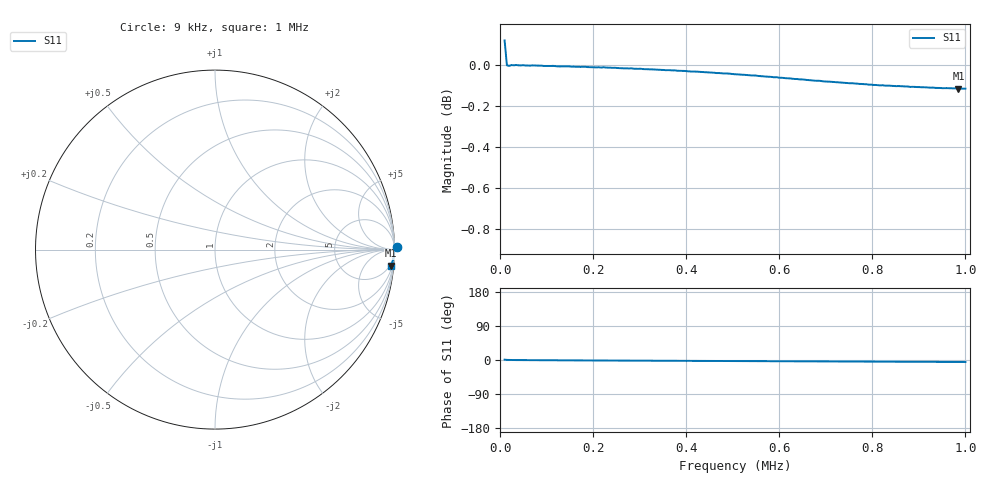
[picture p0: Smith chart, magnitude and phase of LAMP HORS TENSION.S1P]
!Agilent Technologies,E5071C,MY46109397,A.09.54
!Date: Mon Jan 01 01:47:05 2001
!Data & Calibration Information:
!Freq	S11:SOLT1(ON)
# Hz S RI R 50
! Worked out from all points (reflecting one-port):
!   201 points, 9 kHz to 1 MHz, reference 50 ohm
!   lowest |S11| = -0.1 dB at 985.1 kHz (marker M1), VSWR 148.47, Z = 159 - j1.07e+03 ohm
!   phase of S11 starts at 1 deg and turns -6 deg over the sweep
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9000  1.013 0.0168
13955  0.9996 0.00445
18910  0.9993 0.00168
23865  0.9997 -0.00063
33775  0.9998 -0.00287
53595  0.9995 -0.00589
88280  0.9994 -0.0101
132875  0.9989 -0.015
217110  0.998 -0.0238
222065  0.9982 -0.0242
256750  0.9976 -0.0278
281525  0.9975 -0.0302
380625  0.9958 -0.0399
504500  0.9933 -0.0516
549095  0.9923 -0.0556
568915  0.9917 -0.0575
628375  0.9901 -0.0624
682880  0.9887 -0.067
752250  0.987 -0.0723
801800  0.9857 -0.0761
806755  0.9857 -0.0761
816665  0.9854 -0.0771
876125  0.9844 -0.0815
881080  0.9842 -0.0819
900900  0.9839 -0.0835
910810  0.9838 -0.0841
985135  0.9825 -0.0897
1000000  0.9824 -0.0909
